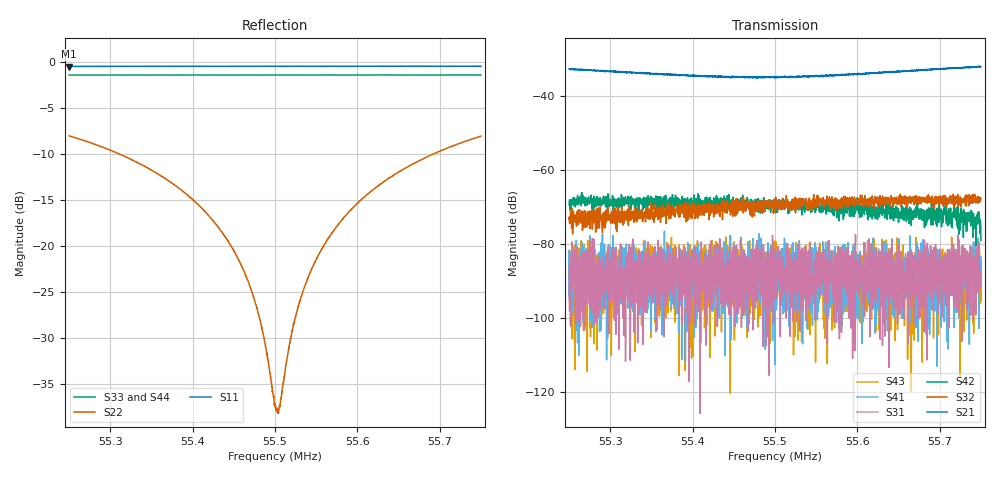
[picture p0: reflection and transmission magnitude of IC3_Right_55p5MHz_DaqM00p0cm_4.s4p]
#  HZ  S  DB  R  50.00
! Rohde & Schwarz Vector Network Analyzer
! Rohde-Schwarz,ZNB8-4Port,1311601044102961,2.82
! Created: UTC 2/13/2019, 11:49:01 AM
! freq[Hz]  db:S11  ang:S11  db:S12  ang:S12  db:S13  ang:S13  db:S14  ang:S14
!  db:S21  ang:S21  db:S22  ang:S22  db:S23  ang:S23  db:S24  ang:S24
!  db:S31  ang:S31  db:S32  ang:S32  db:S33  ang:S33  db:S34  ang:S34
!  db:S41  ang:S41  db:S42  ang:S42  db:S43  ang:S43  db:S44  ang:S44
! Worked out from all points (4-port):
!   2001 points, 55.25 MHz to 55.75 MHz, reference 50 ohm
!   strongest paths, dB at 55.25 MHz, 55.375 MHz, 55.5 MHz, 55.625 MHz, 55.75 MHz:
!     S21: -32.6, -34.1, -34.8, -33.7, -32.0
!     S32: -73.3, -70.3, -67.8, -67.2, -67.5
!     S42: -69.4, -67.6, -69.7, -70.8, -79.1
!     S31: -86.5, -83.8, -81.3, -87.5, -89.0
!     S41: -94.2, -96.2, -88.6, -86.4, -83.4
!     S43: -82.6, -90.0, -85.4, -85.0, -88.2
!   lowest |S11| = -0.5 dB at 55.25 MHz (marker M1), VSWR 36.40, Z = 2.43 + j43.9 ohm
!   |S11| at or under -10 dB: nowhere
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5.525e7  -0.48 97.4  -32.66 75.5  -85.97 -138.3  -86.99 173.7
         -32.62 75.3  -8.01 -168.6  -73.97 -24.0  -69.63 177.2
         -86.51 -18.6  -73.32 -69.1  -1.41 24.8  -78.84 17.4
         -94.19 143.2  -69.38 174.0  -82.64 164.0  -1.43 31.3
5.543075e7  -0.46 94.0  -34.80 82.5  -87.47 -162.3  -84.28 -31.7
            -34.70 82.2  -17.94 157.7  -70.41 -53.9  -68.90 160.9
            -87.45 -150.5  -69.30 -47.6  -1.40 22.5  -87.99 -57.0
            -82.14 145.0  -69.33 158.6  -85.12 -86.0  -1.42 29.0
5.547275e7  -0.46 93.3  -34.70 85.4  -84.49 101.6  -86.55 131.8
            -35.01 86.1  -25.18 142.6  -70.70 -67.2  -69.54 149.8
            -95.86 28.1  -69.79 -61.7  -1.40 22.0  -93.44 139.8
            -84.47 123.0  -69.99 150.4  -85.46 42.2  -1.42 28.5
5.550275e7  -0.45 92.7  -34.72 89.6  -92.96 -104.2  -88.31 106.0
            -34.83 90.7  -37.92 61.3  -69.87 -70.0  -68.67 150.9
            -94.32 90.0  -70.10 -62.6  -1.40 21.6  -94.12 -43.8
            -87.70 24.4  -69.99 151.3  -85.33 -50.3  -1.42 28.1
5.5532e7  -0.45 92.2  -34.64 92.3  -87.31 -142.6  -87.62 97.1
          -34.70 93.1  -25.40 -20.8  -69.08 -66.7  -69.75 144.5
          -82.87 -167.7  -67.66 -80.0  -1.41 21.2  -87.33 -125.9
          -89.26 68.4  -70.82 128.5  -83.50 -103.0  -1.42 27.7
5.557425e7  -0.45 91.4  -34.19 95.7  -92.21 87.7  -86.87 -108.3
            -34.25 95.4  -17.95 -36.6  -68.88 -74.7  -70.14 149.2
            -84.12 -159.0  -70.95 -57.7  -1.41 20.7  -86.12 -0.6
            -84.68 -74.9  -70.68 136.9  -85.38 24.0  -1.42 27.2
5.575e7  -0.45 88.2  -32.04 98.4  -83.73 -158.8  -82.52 132.4
         -32.01 99.7  -8.05 -70.3  -67.06 -99.1  -73.23 128.3
         -89.00 -79.2  -67.51 -93.9  -1.40 18.5  -94.74 -117.3
         -83.41 -130.0  -79.05 97.3  -88.19 -166.1  -1.42 25.1
